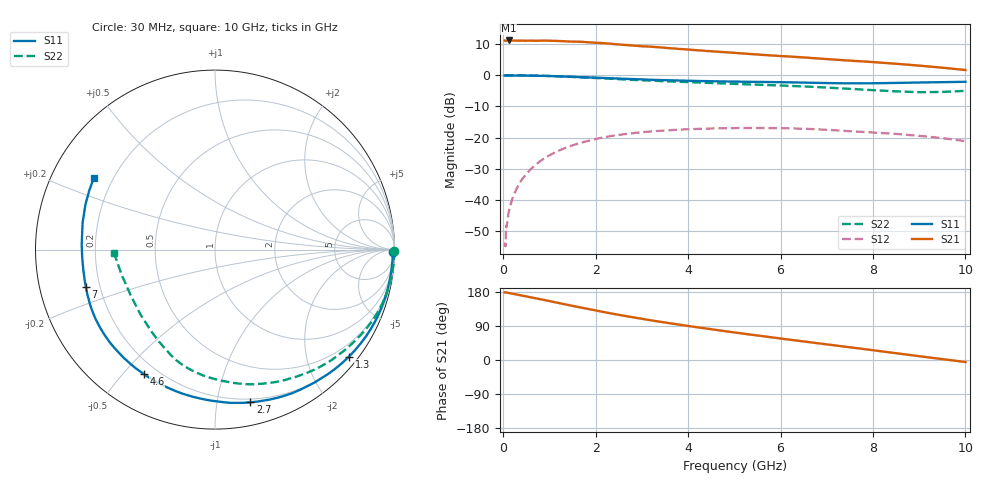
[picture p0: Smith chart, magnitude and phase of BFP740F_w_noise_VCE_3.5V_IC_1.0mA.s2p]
! Infineon Technologies  Discrete & RF Semiconductors
! BFP740F
! VCE =  3.5 V,  IC =  1.0 mA
! Common Emitter S-Parameters:  Oct 2012
# GHz  S  MA  R  50
!  f  S11  S21  S12  S22
! GHz  MAG  ANG  MAG  ANG  MAG  ANG  MAG  ANG
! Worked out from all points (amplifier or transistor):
!   99 points, 30 MHz to 10 GHz, reference 50 ohm
!   highest |S21| = 11.2 dB at 120 MHz (marker M1)
!   |S21| within 3 dB of that: start of sweep to 4.069 GHz
!   unconditionally stable (mu >= 1): nowhere
!   at 350 MHz: K = 0.00, MSG = 22.9 dB, |S12| = -34.8 dB
!   at 3.5 GHz: K = 0.20, MSG = 13.3 dB, |S12| = -17.7 dB
!   at 10 GHz: K = 0.95, MSG = 11.4 dB, |S12| = -21.2 dB
!   lowest NFmin = 0.44 dB at 450 MHz
!   S11 on the Smith chart (normalised r, x): 30 MHz: open; 1.3 GHz: 0.21, -2.84; 2.7 GHz: 0.17, -1.24; 4.6 GHz: 0.15, -0.57; 7 GHz: 0.15, -0.14; 10 GHz: 0.13, +0.27
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0.03  0.9908 -0.9  3.594 178.6  0.0018 82.3  0.9996 -0.6
0.04  0.9912 -1.3  3.568 178.5  0.002 87.7  0.9994 -0.8
0.05  0.9913 -1.5  3.589 178.5  0.0018 72.0  0.9992 -1.0
0.06  0.9893 -1.8  3.572 178.3  0.0038 90.4  0.9994 -1.2
0.07  0.9909 -2.1  3.592 178.0  0.0036 81.2  0.9996 -1.4
0.12  0.9903 -3.6  3.618 176.9  0.0064 89.8  0.9993 -2.5
0.25  0.9891 -7.5  3.596 173.8  0.013 85.0  0.9973 -5.1
0.5  0.9857 -14.8  3.582 167.9  0.0261 79.8  0.9927 -10.2
0.9  0.9743 -26.8  3.597 158.1  0.0469 70.8  0.9781 -18.4
1.3  0.9551 -38.6  3.524 147.8  0.0661 61.6  0.9537 -26.7
1.7  0.9302 -50.3  3.437 137.8  0.083 52.8  0.9243 -34.9
2.1  0.9087 -61.6  3.301 128.3  0.0983 44.3  0.8949 -43.4
2.7  0.8731 -77.0  3.044 114.9  0.115 32.5  0.8502 -54.8
3.4  0.8373 -93.8  2.8 100.8  0.1282 20.1  0.8059 -66.8
4  0.8156 -107.0  2.584 89.8  0.1357 10.9  0.7756 -75.3
4.6  0.7987 -119.8  2.399 79.5  0.14 2.1  0.7451 -83.2
5.1  0.7892 -130.0  2.259 71.1  0.142 -4.9  0.7225 -89.7
6.1  0.7709 -148.3  2.017 55.1  0.1409 -18.3  0.6796 -102.4
6.7  0.756 -158.7  1.884 45.9  0.1364 -26.4  0.65 -109.8
7  0.7491 -164.0  1.818 41.2  0.1328 -30.1  0.6335 -113.4
8.5  0.7527 168.6  1.529 17.9  0.1142 -46.2  0.5507 -138.9
10  0.7846 149.4  1.213 -5.3  0.0875 -61.8  0.5623 -177.9
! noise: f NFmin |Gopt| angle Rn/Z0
0.45  0.44  0.65  10  0.5
0.9  0.53  0.66  18  0.46
1.5  0.68  0.66  29  0.43
1.9  0.79  0.62  40  0.44
2.4  0.93  0.59  48  0.44
3.5  1.24  0.54  72  0.41
5.5  1.77  0.47  117  0.31
10  2.79  0.61  -140  0.14
